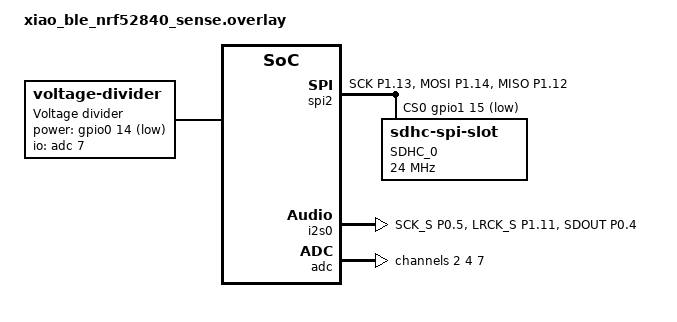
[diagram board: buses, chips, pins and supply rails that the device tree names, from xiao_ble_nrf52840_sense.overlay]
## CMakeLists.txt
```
#
# Copyright (c) 2021 Nordic Semiconductor
#
# SPDX-License-Identifier: LicenseRef-Nordic-5-Clause
#

cmake_minimum_required(VERSION 3.20.0)

find_package(Zephyr REQUIRED HINTS $ENV{ZEPHYR_BASE})
project(Toy)

include_directories(${CMAKE_CURRENT_LIST_DIR}/../common)

# NORDIC SDK APP START
target_sources(app PRIVATE src/main.c
                           src/nvs_modul.c
                           src/sd_modul.c
                           src/audio_modul.c
                           src/ble_modul.c
                           src/ei_imu_modul.c
                           src/game_modul.c
                           ../common/app_state.c
                           ../common/haptic_modul.c
                           ../common/bat_measures_modul.c
                           ../common/battery.c
                           ../common/pwm_effects.c
                           )
# NORDIC SDK APP END
```

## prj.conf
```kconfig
#
# Copyright (c) 2021 Nordic Semiconductor ASA
#
# SPDX-License-Identifier: LicenseRef-Nordic-5-Clause
#

# --- Serial comunication Configuration ---
CONFIG_USB_DEVICE_STACK=y
CONFIG_USB_CDC_ACM=y
CONFIG_SERIAL=y
CONFIG_UART_CONSOLE=y

# --- Error handling ---
CONFIG_REBOOT=y
CONFIG_RESET_ON_FATAL_ERROR=y
# --- Hardware Pheripherals Configuration ---
CONFIG_I2S=y
CONFIG_PWM=y
CONFIG_GPIO=y
# Enable accel sensor
CONFIG_SPI=y
CONFIG_SENSOR=y
CONFIG_LSM6DSL_TRIGGER_OWN_THREAD=y

#Analog reading for battery charging measurrements    
CONFIG_ADC=y
CONFIG_NRFX_SAADC=y

# --- Edge Impulse Configuration ---
#C++ dependencies
CONFIG_CPP=y
CONFIG_STD_CPP11=y
CONFIG_FP16=n

# Enable Edge Impulse
CONFIG_EDGE_IMPULSE=y
CONFIG_EDGE_IMPULSE_DOWNLOAD_ALWAYS=n
CONFIG_EDGE_IMPULSE_URI="xiaog5v46"
CONFIG_EI_WRAPPER=y
# --- Storage & Filesystem Configuration ---
#nvs storage
CONFIG_FLASH=y
CONFIG_NVS=y
CONFIG_REBOOT=n
CONFIG_MPU_ALLOW_FLASH_WRITE=y
#sdhc config
CONFIG_FILE_SYSTEM=y
CONFIG_FAT_FILESYSTEM_ELM=y
CONFIG_DISK_ACCESS=y
# Long File Names
CONFIG_FS_FATFS_LFN=y

# Max path lenght
CONFIG_FS_FATFS_MAX_LFN=255

# --- Bluetooth (BLE) Configuration ---
CONFIG_BT=y
CONFIG_BT_PERIPHERAL=y
CONFIG_BT_DEVICE_NAME="Toy_BLE"
CONFIG_BT_ZEPHYR_NUS=y
CONFIG_BT_MAX_CONN=2
CONFIG_BT_GATT_DYNAMIC_DB=y
CONFIG_BT_USER_PHY_UPDATE=y
CONFIG_BT_CTLR_TX_PWR_PLUS_8=y
CONFIG_BT_GATT_CLIENT=y

CONFIG_BT_LL_SOFTDEVICE=y

CONFIG_BT_BUF_EVT_RX_COUNT=30

CONFIG_BT_BUF_ACL_RX_COUNT=24

CONFIG_BT_BUF_ACL_TX_COUNT=24
CONFIG_BT_CONN_TX_MAX=24
CONFIG_BT_L2CAP_TX_BUF_COUNT=24

CONFIG_BT_MAX_CONN=2
# Data Length and MTU
CONFIG_BT_USER_DATA_LEN_UPDATE=y
CONFIG_BT_CTLR_DATA_LENGTH_MAX=251
CONFIG_BT_BUF_ACL_RX_SIZE=251
CONFIG_BT_BUF_ACL_TX_SIZE=251
CONFIG_BT_L2CAP_TX_MTU=247

CONFIG_BT_CTLR_SDC_MAX_CONN_EVENT_LEN_DEFAULT=4000

CONFIG_LOG=y
CONFIG_LOG_MODE_DEFERRED=y
CONFIG_LOG_MODE_IMMEDIATE=n
CONFIG_LOG_BUFFER_SIZE=10000
CONFIG_LOG_PROCESS_THREAD_STACK_SIZE=4048

CONFIG_ENTROPY_GENERATOR=y
CONFIG_DK_LIBRARY=y
```

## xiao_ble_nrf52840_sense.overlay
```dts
// To get started, press Ctrl+Space to bring up the completion menu and view the available nodes.

// You can also use the buttons in the sidebar to perform actions on nodes.
// Actions currently available include:

// * Enabling / disabling the node
// * Adding the bus to a bus
// * Removing the node
// * Connecting ADC channels

// For more help, browse the DeviceTree documentation at https://docs.zephyrproject.org/latest/guides/dts/index.html
// You can also visit the nRF DeviceTree extension documentation at https://docs.nordicsemi.com/bundle/nrf-connect-vscode/page/guides/ncs_configure_app.html#devicetree-support-in-the-extension
&pinctrl {
    custom_spi: custom_spi {
            group1 {
                    psels = <NRF_PSEL(SPIM_SCK, 1, 13)>,
                            <NRF_PSEL(SPIM_MOSI, 1, 14)>,
                            <NRF_PSEL(SPIM_MISO, 1, 12)>;
            };
    };
};

&spi2 {
    status = "okay";
    pinctrl-0 = <&custom_spi>;
    pinctrl-1 = <&custom_spi>;
    pinctrl-names = "default", "sleep";
    cs-gpios = <&gpio1 15 GPIO_ACTIVE_LOW>;

    sdhc0: sdhc@0 {
        compatible = "zephyr,sdhc-spi-slot";
        reg = <0>;
        status = "okay";
        label = "SDHC_0";
        mmc {
                compatible = "zephyr,sdmmc-disk";
                status = "okay";
                disk-name = "SD";
        };
        spi-max-frequency = <24000000>;
    };
};

/ {
    aliases {
        i2stx = &i2s0;
        adc0 = &adc;
    };

    vbatt {
    compatible = "voltage-divider";
    label = "Voltage divider";
    io-channels = <&adc 7>;
    output-ohms = <510000>;
    full-ohms =  <1510000>;
    power-gpios = <&gpio0 14 GPIO_ACTIVE_LOW>;
    };
};

&i2s0 {
    compatible = "nordic,nrf-i2s";
    #address-cells = <1>;
    #size-cells = <0>;
    reg = <0x40025000 0x1000>;

    pinctrl-0 = <&i2s0_default>;
    pinctrl-names = "default";

    status = "okay";
};

&pinctrl {
    i2s0_default: i2s0_default {
        group1 {
            psels = <NRF_PSEL(I2S_SCK_S, 0, 5)>,    /* D8 */
                    <NRF_PSEL(I2S_LRCK_S, 1, 11)>,   /* D9 */
                    <NRF_PSEL(I2S_SDOUT, 0, 4)>;    /* D7 */
        };
    };
};

&pwm0_default {
    group1 {
        psels = <NRF_PSEL(PWM_OUT0, 0, 29)>, <NRF_PSEL(PWM_OUT1, 0, 3)>;
        /delete-property/ nordic,invert;
    };
};

&adc {
   #address-cells = <1>;
   #size-cells = <0>;

  channel@2 {
    reg = <2>;
    zephyr,gain = "ADC_GAIN_1_3";
    zephyr,reference = "ADC_REF_INTERNAL";
    zephyr,acquisition-time = <ADC_ACQ_TIME(ADC_ACQ_TIME_MICROSECONDS, 40)>;
    zephyr,input-positive = <NRF_SAADC_AIN0>;
    zephyr,resolution = <12>;
    zephyr,oversampling = <8>;
   };

  channel@4 {
    reg = <4>;
    zephyr,gain = "ADC_GAIN_1_3";
    zephyr,reference = "ADC_REF_INTERNAL";
    zephyr,acquisition-time = <ADC_ACQ_TIME(ADC_ACQ_TIME_MICROSECONDS, 40)>;
    zephyr,input-positive = <NRF_SAADC_AIN4>;
    zephyr,resolution = <12>;
    zephyr,oversampling = <8>;
   };

  channel@7 {
    reg = <7>;
    zephyr,gain = "ADC_GAIN_1_3";
    zephyr,reference = "ADC_REF_INTERNAL";
    zephyr,acquisition-time = <ADC_ACQ_TIME(ADC_ACQ_TIME_MICROSECONDS, 40)>;
    zephyr,input-positive = <NRF_SAADC_AIN7>;
    zephyr,resolution = <12>;
    zephyr,oversampling = <8>;
   };
};

/delete-node/ &{/pin-controller/pwm0_sleep/group1/};
/delete-node/ &{/pin-controller/uart0_default/group1/};
/delete-node/ &{/pin-controller/uart0_default/group2/};
/delete-node/ &{/pin-controller/uart0_sleep/group1/};
/delete-node/ &{/pin-controller/i2c1_default/group1/};
/delete-node/ &{/pin-controller/i2c1_sleep/group1/};
&qspi_default {
    group1 {
        psels = <NRF_PSEL(QSPI_SCK, 0, 21)>,
                <NRF_PSEL(QSPI_IO0, 0, 20)>,
                <NRF_PSEL(QSPI_IO1, 0, 24)>,
                <NRF_PSEL(QSPI_IO2, 0, 22)>,
                <NRF_PSEL(QSPI_CSN, 0, 25)>,
                <NRF_PSEL(QSPI_IO3, 0, 23)>;
    };
};
```

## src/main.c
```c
/*
 * Copyright (c) 2021 Nordic Semiconductor ASA
 *
 * SPDX-License-Identifier: LicenseRef-Nordic-5-Clause
 */
#include <zephyr/kernel.h>
#include <zephyr/logging/log.h>
LOG_MODULE_REGISTER(Main, CONFIG_LOG_DEFAULT_LEVEL);

#include <zephyr/device.h>
#include <zephyr/drivers/sensor.h>
#include <stdio.h>
#include <zephyr/sys/util.h>
//#include <zephyr/sys/reboot.h>
#include <zephyr/devicetree.h>
#include <zephyr/drivers/gpio.h>
#include <zephyr/irq.h>
#include <nrf.h>
#include <zephyr/types.h>
#include <dk_buttons_and_leds.h>

#include <zephyr/bluetooth/bluetooth.h>
#include <zephyr/bluetooth/services/nus.h>

/*modules that uses Toy and Remote together*/
#include "toy_utils.h"
/*Modules for nvs*/
#include "nvs_modul.h"
/*Modules for global variables of app state*/
#include "app_state.h"
/*Modules for sd operations*/
#include "sd_modul.h"
/*Modules for imu and edge impulse wrapper*/
#include "ei_imu_modul.h"
/*Modules for audio response*/
#include "audio_modul.h"
/*Modules for haptic response*/
#include "haptic_modul.h"
/*Modules for battery and charging measurements*/
#include "bat_measures_modul.h"
/*Modules for BLE comunication*/
#include "ble_modul.h"
/*Modules for Game mods*/
#include "game_modul.h"

#define SYSSOUND_THREAD_PRIORITY 11
#define SYSSOUND_THREAD_STACK_SIZE 2048

K_THREAD_STACK_DEFINE(syssound_stack_area, SYSSOUND_THREAD_STACK_SIZE);
static struct k_thread syssound_thread_data;

static void system_feedback_thread(void *arg1, void *arg2, void *arg3);

int main(void)
{
	int err;
	/*nvs storage init*/
	err = nvs_init_datarec(&volume, &current_category, &device_running, &current_game);
	if (err) {
		LOG_ERR("NVS initialization failed, err %d", err);
	}
	/*end of nvs storage init*/

	err = dk_leds_init();
	if (err)
	{
		LOG_ERR("LEDs initialization failed, err %d", err);
		return 0;
	}

	err = sd_modul_init();
	if (err) {
		LOG_ERR("SD modul initialization failed, err %d", err);
		return err;
	}

	err = imu_ei_init();
	if (err) {
		LOG_ERR("Edge Impulse & IMU modul initialization failed, err %d", err);
		return err;
	}
	err = audio_modul_init();
	if (err) {
		LOG_ERR("Audio Haptic modul initialization failed, err %d", err);
		return err;
	}
	err = haptic_modul_init();
	if (err) {
		LOG_ERR("Audio Haptic modul initialization failed, err %d", err);
		return err;
	}
	err = bat_measure_modul_init();
	if (err) {
		LOG_ERR("Baterry measure modul initialization failed, err %d", err);
		return err;
	}

	k_thread_create(&syssound_thread_data, syssound_stack_area,
					K_THREAD_STACK_SIZEOF(syssound_stack_area),
					system_feedback_thread,
					NULL, NULL, NULL,
					SYSSOUND_THREAD_PRIORITY, 0, K_NO_WAIT);

	err = ble_modul_init();
	if (err) {
		LOG_ERR("BLE modul initialization failed, err %d", err);
		return err;
	}
	
	
	err = game_modul_init();
	if (err) {
		LOG_ERR("GAME modul initialization failed, err %d", err);
		return err;
	}

	return 0;
}

static void system_feedback_thread(void *arg1, void *arg2, void *arg3) {
	LOG_INF("System feedback thread started");
	struct toy_events rx_event;
	struct toy_events last_bat = {0};
	struct toy_events tx_audio = {0};
	struct toy_events tx_lra = {.type = MT_LRA, .len = sizeof(struct lra_ev)};

    while (true) {
        if(k_msgq_get(&sysfb_msgq, &rx_event, K_FOREVER) == 0) {
			bool send = false;
			bool sendaudio = false;
			bool sendlra = false;

			switch (rx_event.type) {
				case MT_REQUEST_SD_DATA:
					struct file_data data_req = {
						.file_msg_type = MT_REQUEST_SD_DATA
					};
					k_msgq_put(&aud_dataq, &data_req, K_NO_WAIT); // Pošlu do vlákna pro přenos souborů
					break;
				case MT_LSM6DSL_ON:
				case MT_LSM6DSL_OFF:
					sendaudio = true;
					if(!device_running){
						device_running = true;
						nvs_save_power_state(device_running);
						lsm6dsl_ei_wake();
						tx_audio.type = MT_LSM6DSL_ON;
						LOG_INF("Toy turned ON");
					} else {
						lsm6dsl_sleep();
						device_running = false;
						tx_audio.type = MT_LSM6DSL_OFF;
						LOG_INF("Toy turned OFF");
						nvs_save_power_state(device_running);
					}
					break;
				case MT_VOL_UP:
					if(volume <= MAX_VOLUME) {
						volume += VOLUME_STEP;
						nvs_save_volume(volume);
						LOG_INF("Volume has increased to %d", volume);
					} else {
						LOG_WRN("Volume is at maximum %d", volume);
					}
					break;
				case MT_VOL_DOWN:
					if(volume > MIN_VOLUME) {
						volume -= VOLUME_STEP;
						nvs_save_volume(volume);
						LOG_INF("Volume has decreased to %d", volume);
					} else {
						LOG_WRN("Volume is at minimum %d", volume);
					}
					break;
				case MT_GEST:
					if (current_game == GAME_MODE_SWAPPED && remote_conn != NULL) {
						char send_buffer[120];
						int len = sizeof(rx_event.payload);
						memcpy(&send_buffer[1], &rx_event.payload, len);
						bt_nus_send(remote_conn, (const uint8_t *)send_buffer, len + 1);
						break;
					}
					if (current_game == GAME_MODE_CHAINS) {
						k_msgq_put(&game_ev_msgq, &rx_event, K_NO_WAIT);
						break;
					}
					sendaudio = true;
					sendlra = true;
					sendlra = true;
					tx_lra.payload.lra.effect = rx_event.payload.gest.type;
					tx_audio.type = MT_GEST;
					tx_audio.payload.audio.id = rx_event.payload.gest.type;
					break;
				case MT_CHANGE_CATEGORY:
					if(current_game == GAME_MODE_CHAINS) {
						LOG_INF("current_game is CHAINS to change category change the game mode");
						break;
					}
					current_category= (current_category + 1) % actual_categories_count;
					nvs_save_categ(current_category);
					sendaudio = true;
					tx_audio.type = MT_CHANGE_CATEGORY;
					tx_audio.payload.audio.id = (uint8_t *)categories[current_category].categ_id;
					LOG_INF("Current category changed to %d", current_category);
					break;
				case MT_LOW_BATERY:
					sendaudio = true;
					tx_audio.type = MT_LOW_BATERY;
					break;
				case MT_REQ_LASTBAT:
					memcpy(&rx_event.payload.power, &last_bat.payload.power, sizeof(rx_event.payload.power));
					last_bat.payload.power.deviceOn = device_running;
                    send = true; 
                    break;
				case MT_CHARGING:
				case MT_CHARGED:
					sendlra = true;
					tx_lra.payload.lra.effect = CHARGING_EFFECT;
				case MT_BAT_INF:
					memcpy(&last_bat.payload.power, &rx_event.payload.power, sizeof(rx_event.payload.power));
					send = true;
					break;
				case MT_G_MODE_CHANGE:
					current_game= (current_game + 1) % GAME_MODE_CNT;
					nvs_save_gameM(current_game);
					LOG_INF("Current game mode changed to %d", current_game);
					sendaudio = true;
					tx_audio.type = MT_G_MODE_CHANGE;
					tx_audio.payload.gest.type = current_game;
					if(current_game == GAME_MODE_CHAINS) {
						current_category = ctg_piano_idx;
						nvs_save_categ(current_category);
					} 
					break;
				case MT_SWITCH_TOY:
					sendlra = true;
					tx_lra.payload.lra.effect = CONNECTED_EFFECT;
					break;
				case MT_BT_CONNECTED:
					sendaudio = true;
					tx_audio.type = MT_BT_CONNECTED;
					break;
				case MT_BT_DISCONNECT:
					sendaudio = true;
					tx_audio.type = MT_BT_DISCONNECT;
					break;
				default:
					LOG_WRN("Unknown system feedback message received: %d", rx_event.type);
					break;
			}
			if (sendlra) {
				k_msgq_put(&lra_msgq, &tx_lra, K_NO_WAIT);
			}
			
			if(sendaudio) {
				k_msgq_put(&aud_event_msgq, &tx_audio, K_NO_WAIT);
			}
			if(send && master_conn != NULL) {
                char send_buffer[128];
				int len = sizeof(rx_event.payload.power);
                send_buffer[0] = MT_RECV_POW_DATA;
                memcpy(&send_buffer[1], &rx_event.payload.power, len);

                bt_nus_send(master_conn, (const uint8_t *)send_buffer, len + 1);
                
                LOG_INF("BT Send -> V_bat: %d, Charging: %d, Charged: %d, DeviceON: %d",
                        rx_event.payload.power.V_bat,
                        rx_event.payload.power.charging,
						rx_event.payload.power.charged,
                        rx_event.payload.power.deviceOn);
            }
		}
    }
}
```

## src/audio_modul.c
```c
#include "audio_modul.h"
#include "toy_utils.h"
#include "app_state.h"
#include "haptic_modul.h"

#ifdef CONFIG_DISK_ACCESS
	#include "sd_modul.h"
	/*moduls for SD card support*/
	#include <zephyr/storage/disk_access.h>
	#include <zephyr/fs/fs.h>
	#include <ff.h>
#endif

#include <zephyr/logging/log.h>

LOG_MODULE_REGISTER(audio_modul, CONFIG_LOG_DEFAULT_LEVEL);

#include <zephyr/drivers/i2s.h>

#include <zephyr/sys/iterable_sections.h>
#include <zephyr/kernel.h>

#define AUD_EVENT_MSGQ_LENGTH 16

K_MSGQ_DEFINE(aud_event_msgq, sizeof(struct toy_events), AUD_EVENT_MSGQ_LENGTH, 4);

#define AUDIO_CHUNK_SIZE 1024
#define AUDIO_SD_CHUNK AUDIO_CHUNK_SIZE

#ifdef CONFIG_NOCACHE_MEMORY
#define MEM_SLAB_CACHE_ATTR __nocache
#else
#define MEM_SLAB_CACHE_ATTR
#endif /* CONFIG_NOCACHE_MEMORY */

#define BLOCK_SIZE AUDIO_CHUNK_SIZE
#define SLAB_COUNT 4

static char MEM_SLAB_CACHE_ATTR __aligned(WB_UP(32))
	_k_mem_slab_buf_tx_0_mem_slab[(SLAB_COUNT)*WB_UP(BLOCK_SIZE)];

static STRUCT_SECTION_ITERABLE(k_mem_slab, tx_0_mem_slab) =
	Z_MEM_SLAB_INITIALIZER(tx_0_mem_slab, _k_mem_slab_buf_tx_0_mem_slab,
						   WB_UP(BLOCK_SIZE), SLAB_COUNT);

#ifdef CONFIG_I2S
#define AUDIO_THREAD_STACK_SIZE 2048
#define AUDIO_THREAD_PRIORITY 3
K_THREAD_STACK_DEFINE(audio_haptic_stack_area, AUDIO_THREAD_STACK_SIZE);
static struct k_thread audio_haptic_thread_data;

typedef enum {
    SYS_SOUND_LOW_BATTERY,
    SYS_SOUND_BT_CONNECTED,
    SYS_SOUND_BT_DISCONNECTED,
    SYS_SOUND_MODE_DEFAULT,
    SYS_SOUND_MODE_CHAINS,
    SYS_SOUND_ZAPNUTO,
    SYS_SOUND_VYPNUTO,
	SYS_SOUND_MODE_MIRROR,
	SYS_SOUND_MODE_SWAPPED,
	SYS_SOUND_CATEG_CHANGED,

	SYS_SOUND_COUNT
} sys_sound_t;

static const char *const sys_sound_paths[] = {
    [SYS_SOUND_LOW_BATTERY]    = "SD:/system/lowB.wav",
    [SYS_SOUND_BT_CONNECTED]   = "SD:/system/btOn.wav",
    [SYS_SOUND_BT_DISCONNECTED]= "SD:/system/btOff.wav",
    [SYS_SOUND_MODE_DEFAULT]     = "SD:/system/Bezny.wav",
    [SYS_SOUND_MODE_CHAINS]  = "SD:/system/Retezovy.wav",
	[SYS_SOUND_MODE_MIRROR]	   = "SD:/system/Zrcadlovy.wav",
	[SYS_SOUND_MODE_SWAPPED]   = "SD:/system/Obraceny.wav",
	[SYS_SOUND_VYPNUTO]        = "SD:/system/Vypnout.wav",
	[SYS_SOUND_ZAPNUTO]		   = "SD:/system/Zapnout.wav",
	[SYS_SOUND_CATEG_CHANGED]  = "SD:/system/ctg_chng/"
};

void audio_feedback_thread(void *arg1, void *arg2, void *arg3);
#endif

int audio_modul_init() {

	#ifdef CONFIG_I2S
    k_thread_create(&audio_haptic_thread_data, audio_haptic_stack_area,
                K_THREAD_STACK_SIZEOF(audio_haptic_stack_area),
                audio_feedback_thread,
                NULL, NULL, NULL,
                AUDIO_THREAD_PRIORITY, 0, K_NO_WAIT);
	#endif
    return 0;
}

#ifdef CONFIG_I2S
int find_piano();

int playaudio(const struct device *dev_i2s, const char **paths, uint8_t files_num);

int i2s_initialize(const struct device *dev_i2s); // init of i2s for playing gest

int i2s_initialize(const struct device *dev_i2s){

	int ret;

	struct i2s_config i2s_cfg;

	if (!device_is_ready(dev_i2s)) {
		LOG_ERR("I2S device not ready\n");
		ret = -ENODEV;
		return ret;
	} else {
		LOG_INF("I2S device is ready\n");
	}

	i2s_cfg.word_size = 16U;
	i2s_cfg.channels = 1U;
	i2s_cfg.format = I2S_FMT_DATA_FORMAT_I2S;
	i2s_cfg.frame_clk_freq = 44100;
	i2s_cfg.block_size = BLOCK_SIZE;
	i2s_cfg.timeout = 3000;
	i2s_cfg.options = I2S_OPT_FRAME_CLK_MASTER | I2S_OPT_BIT_CLK_MASTER;
	i2s_cfg.mem_slab = &tx_0_mem_slab;

	ret = i2s_configure(dev_i2s, I2S_DIR_TX, &i2s_cfg);

	if (ret < 0) {
		LOG_ERR("Failed to configure I2S stream");
		return ret;
	}

	return 0;
}

void audio_feedback_thread(void *arg1, void *arg2, void *arg3) {
	int ret;
	struct toy_events rx_ah;
	LOG_INF("Audio/haptic thread starting...");

	const struct device *dev_i2s = DEVICE_DT_GET(DT_ALIAS(i2stx));

	ret = i2s_initialize(dev_i2s);
	if (ret) {
		LOG_ERR("Init failed");
	} else {
		LOG_INF("Initilize of i2s was succesful");
	}

	while (true) {
		if (k_msgq_get(&aud_event_msgq, &rx_ah, K_FOREVER) == 0) {
			char temp_path[MAX_PATH];
			char temp_path2[MAX_PATH];
			char temp_path3[MAX_PATH];
			const char *paths[CHAIN_TRESHOLD] = {NULL, NULL, NULL};
			int num_to_play = 1;

			const char *result_path = NULL;
			LOG_INF("Recieved packet type 0x%2x gest type %d", rx_ah.type, rx_ah.payload.gest.type);
			switch (rx_ah.type) {
				case MT_GEST:
					result_path = draw_audio_path(rx_ah.payload.gest.type, 255);
					if ( result_path != NULL) {
						strncpy(temp_path, result_path, MAX_PATH - 1);
					}
					paths[0] = temp_path;
					break;
				case MT_CHAIN:
					LOG_INF("Recieved chain event");
					/*
					num_to_play = 3;
					if (ctg_piano_idx != -1) {
						LOG_INF("Piano found at category index: %d", ctg_piano_idx);
					} else {
						LOG_WRN("Piano directory (P_...) not found on SD card!");
						break;
					}
					
					for (size_t i = 0; i < CHAIN_TRESHOLD; i++) {
						result_path = draw_audio_path(rx_ah.payload.audio.chain[i], ctg_piano_idx);
						if ( result_path != NULL && i == 0) {
							strncpy(temp_path, result_path, MAX_PATH - 1);
							paths[0] = temp_path;
						}
						if ( result_path != NULL && i == 1) {
							strncpy(temp_path2, result_path, MAX_PATH - 1);
							paths[1] = temp_path2;
						}
						if ( result_path != NULL && i == 2) {
							strncpy(temp_path3, result_path, MAX_PATH - 1);
							paths[2] = temp_path3;
						}
					}
					*/

					result_path = permute_and_find(rx_ah.payload.audio.chain);
					if ( result_path != NULL) {
						strncpy(temp_path, result_path, MAX_PATH - 1);
					}
					paths[0] = temp_path;
					break;
				case MT_LOW_BATERY:
					paths[0] = sys_sound_paths[SYS_SOUND_LOW_BATTERY];
					break;
				case MT_BT_CONNECTED:
					paths[0] = sys_sound_paths[SYS_SOUND_BT_CONNECTED];
					break;
				case MT_BT_DISCONNECT:
					paths[0] = sys_sound_paths[SYS_SOUND_BT_DISCONNECTED];
					break;
				case MT_LSM6DSL_OFF:
					paths[0] = sys_sound_paths[SYS_SOUND_VYPNUTO];
					break;
				case MT_LSM6DSL_ON:
					paths[0] = sys_sound_paths[SYS_SOUND_ZAPNUTO];
					break;
				case MT_G_MODE_CHANGE:
					switch (rx_ah.payload.gest.type) {
						case GAME_MODE_DEFAULT:
							paths[0] = sys_sound_paths[SYS_SOUND_MODE_DEFAULT];
							break;
						case GAME_MODE_CHAINS:
							paths[0] = sys_sound_paths[SYS_SOUND_MODE_CHAINS];
							break;
						case GAME_MODE_MIRROR:
							paths[0] = sys_sound_paths[SYS_SOUND_MODE_MIRROR];
							break;
						case GAME_MODE_SWAPPED:
							paths[0] = sys_sound_paths[SYS_SOUND_MODE_SWAPPED];
							break;
						default:
							LOG_INF("Unknown gamemode in gest haptic thread: 0x%2x", rx_ah.type);
							break;
					}
					break;
				case MT_CHANGE_CATEGORY:
						sprintf(temp_path, "%s%c.wav",sys_sound_paths[SYS_SOUND_CATEG_CHANGED], rx_ah.payload.gest.type);
						LOG_INF("Categ change sys path is %s",temp_path);
						paths[0] = temp_path;
					break;
				default:
					LOG_INF("Unknown comand in gest haptic thread: %d", rx_ah.type);
					break;
			}
			if(paths[0][0] != '\0') {
				playaudio(dev_i2s, paths, num_to_play);
			}else{
				LOG_INF("Someting went wrong while looking for path skipping gest paly");
			}
		}
	}
}
#endif

#if defined(CONFIG_I2S) && defined(CONFIG_FILE_SYSTEM)
int playaudio(const struct device *dev_i2s, const char **paths, uint8_t files_num) {
	k_sem_take(&sd_data_sem, K_FOREVER);
	audioPlaying = true;
	void *audio_block;
	int ret = 0;

	static uint8_t audio_buf[CHAIN_TRESHOLD][AUDIO_SD_CHUNK];

	UINT bytes_read[CHAIN_TRESHOLD];
	FRESULT fr;

	FIL wav[CHAIN_TRESHOLD];

	for (size_t i = 0; i < files_num; i++) {
		if (f_open(&wav[i], paths[i], FA_READ)) {
			LOG_ERR("open %s failed (%d)", paths[i], fr);
			ret = -EIO;
			goto cleanup;
		} else {
		LOG_INF("Playing from path: %s and skipping header",paths[i]);
		f_lseek(&wav[i], 44); // skip WAV header
		}
	}
	// i2s warm up
	for (int j = 0; j < 3; j++) {
		ret = k_mem_slab_alloc(&tx_0_mem_slab, &audio_block, K_FOREVER);
		if (ret != 0)
		{
			LOG_ERR("Failed to alloc mem_slab block");
			continue;
		}

		memset(audio_block, 0, BLOCK_SIZE);

		ret = i2s_write(dev_i2s, audio_block, BLOCK_SIZE);
		if (ret != 0) {
			LOG_ERR("Could not write TX buffer: %d", ret);
			k_mem_slab_free(&tx_0_mem_slab, &audio_block);
		}
	}

	ret = i2s_trigger(dev_i2s, I2S_DIR_TX, I2S_TRIGGER_START);
	if (ret < 0) {
		LOG_ERR("Could not start I2S TX error: %d", ret);
		return ret;
	}
	while (true) {
		bool any_data = false;
		
		for (size_t i = 0; i < files_num; i++) {
			if ((fr = f_read(&wav[i], audio_buf[i], AUDIO_SD_CHUNK, &bytes_read[i])) == FR_OK) {
				if(bytes_read[i] > 0) {
					any_data = true;
					//LOG_INF("FILE %d and bytes read is %d", i, bytes_read[i]);
				}
			}
		}

		if (!any_data) break;

		// I2S block allocation
		ret = k_mem_slab_alloc(&tx_0_mem_slab, &audio_block, K_FOREVER);
		if (ret != 0) {
			LOG_ERR("TX block allocation failed %d", ret);
			continue;
		}
		
		int16_t *out_samples = (int16_t *)audio_block;
		size_t sample_count = AUDIO_SD_CHUNK / 2;

		for (size_t i = 0; i < sample_count; i++) {

			int32_t mixed_32 = 0;

			for (size_t s = 0; s < files_num; s++) {
				if (bytes_read[s] >= (i + 1) * 2) {
					int16_t *sample_ptr = (int16_t *)&audio_buf[s][i * 2];
					mixed_32 += *sample_ptr;
				}
			}
			float scaled = (mixed_32 * (int32_t)volume) / 10 * files_num;

			// in case of overflow – clamp
			if (scaled > 32767) scaled = 32767;
			if (scaled < -32768) scaled = -32768;

			out_samples[i] = (int16_t)scaled;
		}
		
		// Send block to driver
		ret = i2s_write(dev_i2s, (uint8_t *)audio_block, BLOCK_SIZE);
		if (ret != 0) {
			LOG_ERR("I2S write error: %d", ret);
			k_mem_slab_free(&tx_0_mem_slab, &audio_block);
		}
	}

	i2s_trigger(dev_i2s, I2S_DIR_TX, I2S_TRIGGER_DRAIN);
	i2s_trigger(dev_i2s, I2S_DIR_TX, I2S_TRIGGER_STOP);
	i2s_trigger(dev_i2s, I2S_DIR_TX, I2S_TRIGGER_DROP);

	cleanup:
		for (int i = 0; i < files_num; i++) {
			fr = f_close(&wav[i]);
			if (fr != FR_OK) {
				LOG_ERR("f_close failed: %d", fr);
				ret = -EIO;
			}
		}

		audioPlaying = false;
		k_sem_give(&sd_data_sem);
		return ret;
}
#endif
```

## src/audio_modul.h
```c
#ifndef AUDIO_MODUL_H_
#define AUDIO_MODUL_H_

extern struct k_msgq aud_event_msgq;

int audio_modul_init();

#endif
```

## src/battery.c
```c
/*
 * Copyright (c) 2018-2019 Peter Bigot Consulting, LLC
 * Copyright (c) 2019-2020 Nordic Semiconductor ASA
 *
 * SPDX-License-Identifier: Apache-2.0
 */

#include <math.h>
#include <stdio.h>
#include <stdlib.h>

#include <zephyr/kernel.h>
#include <zephyr/init.h>
#include <zephyr/drivers/gpio.h>
#include <zephyr/drivers/adc.h>
#include <zephyr/drivers/sensor.h>
#include <zephyr/logging/log.h>

#include "battery.h"

LOG_MODULE_REGISTER(BATTERY, CONFIG_ADC_LOG_LEVEL);

#define VBATT DT_PATH(vbatt)
#define ZEPHYR_USER DT_PATH(zephyr_user)

#ifdef CONFIG_BOARD_THINGY52_NRF52832
/* This board uses a divider that reduces max voltage to
 * reference voltage (600 mV).
 */
#define BATTERY_ADC_GAIN ADC_GAIN_1
#else
/* Other boards may use dividers that only reduce battery voltage to
 * the maximum supported by the hardware (3.6 V)
 */
#define BATTERY_ADC_GAIN ADC_GAIN_1_6
#endif

struct io_channel_config {
	uint8_t channel;
};

struct divider_config {
	struct io_channel_config io_channel;
	struct gpio_dt_spec power_gpios;
	/* output_ohm is used as a flag value: if it is nonzero then
	 * the battery is measured through a voltage divider;
	 * otherwise it is assumed to be directly connected to Vdd.
	 */
	uint32_t output_ohm;
	uint32_t full_ohm;
};

static const struct divider_config divider_config = {
#if DT_NODE_HAS_STATUS_OKAY(VBATT)
	.io_channel = {
		DT_IO_CHANNELS_INPUT(VBATT),
	},
	.power_gpios = GPIO_DT_SPEC_GET_OR(VBATT, power_gpios, {}),
	.output_ohm = DT_PROP(VBATT, output_ohms),
	.full_ohm = DT_PROP(VBATT, full_ohms),
#else /* /vbatt exists */
	.io_channel = {
		DT_IO_CHANNELS_INPUT(ZEPHYR_USER),
	},
#endif /* /vbatt exists */
};

struct divider_data {
	const struct device *adc;
	struct adc_channel_cfg adc_cfg;
	struct adc_sequence adc_seq;
	int16_t raw;
};
static struct divider_data divider_data = {
#if DT_NODE_HAS_STATUS_OKAY(VBATT)
	.adc = DEVICE_DT_GET(DT_IO_CHANNELS_CTLR(VBATT)),
#else
	.adc = DEVICE_DT_GET(DT_IO_CHANNELS_CTLR(ZEPHYR_USER)),
#endif
};

static int divider_setup(void)
{
	const struct divider_config *cfg = &divider_config;
	const struct io_channel_config *iocp = &cfg->io_channel;
	const struct gpio_dt_spec *gcp = &cfg->power_gpios;
	struct divider_data *ddp = &divider_data;
	struct adc_sequence *asp = &ddp->adc_seq;
	struct adc_channel_cfg *accp = &ddp->adc_cfg;
	int rc;

	if (!device_is_ready(ddp->adc)) {
		LOG_ERR("ADC device is not ready %s", ddp->adc->name);
		return -ENOENT;
	}

	if (gcp->port) {
		if (!device_is_ready(gcp->port)) {
			LOG_ERR("%s: device not ready", gcp->port->name);
			return -ENOENT;
		}
		rc = gpio_pin_configure_dt(gcp, GPIO_OUTPUT_INACTIVE);
		if (rc != 0) {
			LOG_ERR("Failed to control feed %s.%u: %d",
				gcp->port->name, gcp->pin, rc);
			return rc;
		}
	}

	*asp = (struct adc_sequence){
		.channels = BIT(0),
		.buffer = &ddp->raw,
		.buffer_size = sizeof(ddp->raw),
		.oversampling = 4,
		.calibrate = true,
	};

#ifdef CONFIG_ADC_NRFX_SAADC
	*accp = (struct adc_channel_cfg){
		.gain = BATTERY_ADC_GAIN,
		.reference = ADC_REF_INTERNAL,
		.acquisition_time = ADC_ACQ_TIME(ADC_ACQ_TIME_MICROSECONDS, 40),
	};

	if (cfg->output_ohm != 0) {
		accp->input_positive = 
		SAADC_CH_PSELP_PSELP_AnalogInput0 + iocp->channel;
	} else {
		accp->input_positive = SAADC_CH_PSELP_PSELP_VDD;
	}

	asp->resolution = 14;
#else /* CONFIG_ADC_var */
#error Unsupported ADC
#endif /* CONFIG_ADC_var */

	rc = adc_channel_setup(ddp->adc, accp);

	LOG_INF("Setup AIN%u got %d", iocp->channel, rc);
	/* debug: vytisknout nastavení před setupem */


	return rc;
}

static bool battery_ok;

static int battery_setup(void)
{
	int rc = divider_setup();

	battery_ok = (rc == 0);
	LOG_INF("Battery setup: %d %d", rc, battery_ok);
	return rc;
}

SYS_INIT(battery_setup, APPLICATION, CONFIG_APPLICATION_INIT_PRIORITY);

int battery_measure_enable(bool enable)
{
	int rc = -ENOENT;

	if (battery_ok) {
		const struct gpio_dt_spec *gcp = &divider_config.power_gpios;

		rc = 0;
		if (gcp->port) {
			rc = gpio_pin_set_dt(gcp, enable);
		}
	}
	return rc;
}

int battery_sample(void)
{
	int rc = -ENOENT;

	if (battery_ok) {
		struct divider_data *ddp = &divider_data;
		const struct divider_config *dcp = &divider_config;
		struct adc_sequence *sp = &ddp->adc_seq;

		rc = adc_read(ddp->adc, sp);
		sp->calibrate = false;
		if (rc == 0) {
			int32_t val = ddp->raw;

			adc_raw_to_millivolts(adc_ref_internal(ddp->adc),
					      ddp->adc_cfg.gain,
					      sp->resolution,
					      &val);
						  
			/* vypiš kanál */

			if (dcp->output_ohm != 0) {
				rc = val * (uint64_t)dcp->full_ohm
					/ dcp->output_ohm;
				//LOG_INF("raw %u ~ %u mV => %d mV\n",ddp->raw, val, rc);
			} else {
				rc = val;
				//LOG_INF("raw %u ~ %u mV\n", ddp->raw, val);
			}
		}
	}

	return rc;
}

unsigned int battery_level_pptt(unsigned int batt_mV,
				const struct battery_level_point *curve)
{
	const struct battery_level_point *pb = curve;

	if (batt_mV >= pb->lvl_mV) {
		/* Measured voltage above highest point, cap at maximum. */
		return pb->lvl_pptt;
	}
	/* Go down to the last point at or below the measured voltage. */
	while ((pb->lvl_pptt > 0)
	       && (batt_mV < pb->lvl_mV)) {
		++pb;
	}
	if (batt_mV < pb->lvl_mV) {
		/* Below lowest point, cap at minimum */
		return pb->lvl_pptt;
	}

	/* Linear interpolation between below and above points. */
	const struct battery_level_point *pa = pb - 1;

	return pb->lvl_pptt
	       + ((pa->lvl_pptt - pb->lvl_pptt)
		  * (batt_mV - pb->lvl_mV)
		  / (pa->lvl_mV - pb->lvl_mV));
}
```

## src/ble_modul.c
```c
#include "ble_modul.h"
#include "app_state.h"
#include "toy_utils.h"
#include "sd_modul.h"

#include "audio_modul.h"
#include <zephyr/logging/log.h>
LOG_MODULE_REGISTER(BLE_modul, CONFIG_LOG_DEFAULT_LEVEL);

#include <zephyr/bluetooth/bluetooth.h>
#include <zephyr/bluetooth/hci.h>
#include <zephyr/bluetooth/conn.h>
#include <zephyr/bluetooth/uuid.h>
#include <zephyr/bluetooth/gatt.h>
#include <zephyr/bluetooth/services/nus.h>
#include <zephyr/bluetooth/services/nus/inst.h>
#define DEVICE_NAME		CONFIG_BT_DEVICE_NAME
#define DEVICE_NAME_LEN		(sizeof(CONFIG_BT_DEVICE_NAME) - 1)

static const struct bt_data ad[] = {
	BT_DATA_BYTES(BT_DATA_FLAGS, (BT_LE_AD_GENERAL | BT_LE_AD_NO_BREDR)),
	BT_DATA(BT_DATA_NAME_COMPLETE, DEVICE_NAME, DEVICE_NAME_LEN),
};

static const struct bt_data sd[] = {
	BT_DATA_BYTES(BT_DATA_UUID128_ALL, BT_UUID_NUS_SRV_VAL),
};

void connected(struct bt_conn *conn, uint8_t err);

void disconnected(struct bt_conn *conn, uint8_t reason);

void con_discon_form_adress(struct bt_conn *conn, bool connect);

static void bt_receive_cb(struct bt_conn *conn, const void *data, uint16_t len, void *ctx);

static void le_data_len_updated(struct bt_conn *conn, struct bt_conn_le_data_len_info *info)
{
    LOG_INF("DLE REALITA: TX_len: %u, RX_len: %u", info->tx_max_len, info->rx_max_len);
}

static void le_param_updated(struct bt_conn *conn, uint16_t interval, uint16_t latency, uint16_t timeout)
{
    LOG_INF("TIMING REALITA: Interval %.2f ms", interval * 1.25);
}

static void le_phy_updated(struct bt_conn *conn, struct bt_conn_le_phy_info *param)
{
    LOG_INF("--- PHY UPDATE POTVRZEN ---");
    LOG_INF("Aktuální TX PHY: %s", (param->tx_phy == BT_GAP_LE_PHY_2M) ? "2 Mbps" : "1 Mbps");
    LOG_INF("Aktuální RX PHY: %s", (param->rx_phy == BT_GAP_LE_PHY_2M) ? "2 Mbps" : "1 Mbps");
}

BT_CONN_CB_DEFINE(conn_callbacks) = {
    .connected = connected,
    .disconnected = disconnected,
	.le_data_len_updated = le_data_len_updated,
	.le_param_updated = le_param_updated,
	.le_phy_updated =le_phy_updated
};

static struct bt_nus_cb nus_callbacks = {
    .received = bt_receive_cb,
};

static struct bt_gatt_exchange_params exchange_params;
static void update_data_len_mtu(struct bt_conn *conn);
static void update_timing_phy(struct bt_conn *conn, uint8_t cmd);
static void exchange_func(struct bt_conn *conn, uint8_t err,
                          struct bt_gatt_exchange_params *params);

#define BT_THREAD_PRIORITY 8
#define BT_THREAD_STACK_SIZE 4096

K_THREAD_STACK_DEFINE(BT_stack_area, BT_THREAD_STACK_SIZE);
static struct k_thread BT_thread_data;

static void BT_thread(void *arg1, void *arg2, void *arg3);

int ble_modul_init(void){
    k_thread_create(&BT_thread_data, BT_stack_area,
                        K_THREAD_STACK_SIZEOF(BT_stack_area),
                        BT_thread,
                        NULL, NULL, NULL,
                        BT_THREAD_PRIORITY, 0, K_NO_WAIT);
    return 0;
}

static void BT_thread(void *arg1, void *arg2, void *arg3) {
    bt_enable(NULL);

    int err = bt_nus_cb_register(&nus_callbacks, NULL);
	if (err) {
		printk("Failed to register CONN callback: %d\n", err);
		return;
	}
    bt_le_adv_start(BT_LE_ADV_CONN_FAST_1, ad, ARRAY_SIZE(ad), sd, ARRAY_SIZE(sd));
    while (1) {
		k_sleep(K_SECONDS(1));
	}
}

void connected(struct bt_conn *conn, uint8_t err) {
    if (err) {
        LOG_ERR("Connection failed (err %u)", err);
        return;
    }
    con_discon_form_adress(conn, true);

    //master_conn = bt_conn_ref(conn); // Save the connection
    LOG_INF("Device Connected!");
	
	k_sleep(K_MSEC(1));
    struct toy_events tx_conn_e = {.type = MT_BT_CONNECTED};
	k_msgq_put(&sysfb_msgq, &tx_conn_e, K_NO_WAIT);

    update_data_len_mtu(conn);
    update_timing_phy(conn, MT_DEC_SPEED);
    
    if ((master_conn == NULL) || (remote_conn == NULL)) {
        int adv_err = bt_le_adv_start(BT_LE_ADV_CONN_FAST_1, ad, ARRAY_SIZE(ad), sd, ARRAY_SIZE(sd));
        if (adv_err) {
            LOG_ERR("Unable to reset advertising (err %d)", adv_err);
        } else {
            LOG_INF("Advertising reset...");
        }
    }
}

void disconnected(struct bt_conn *conn, uint8_t reason) {
    LOG_INF("Disconnected (reason %u)", reason);
    
    struct toy_events tx_conn_e = {.type = MT_BT_DISCONNECT};
    k_msgq_put(&sysfb_msgq, &tx_conn_e, K_NO_WAIT);

    con_discon_form_adress(conn, false);

	bt_le_adv_stop();

	int err = bt_le_adv_start(BT_LE_ADV_CONN_FAST_1 , ad, ARRAY_SIZE(ad), sd, ARRAY_SIZE(sd));
    if (err) {
        printk("Could not start advertising (err %d)\n", err);
    } else {
        printk("Advertising started.\n");
    }
}

static void bt_receive_cb(struct bt_conn *conn, const void *data, uint16_t len, void *ctx) {
	const uint8_t *data8 = (const uint8_t *)data;
    uint8_t cmd = data8[0];
	switch (cmd) {
            case MT_GEST:
            	if (device_running) {
                    k_msgq_put(&aud_event_msgq, data, K_NO_WAIT);
                }
                break;
            case MT_G_MODE_CHANGE:
            case MT_CHANGE_CATEGORY:
            case MSG_TYPE_TURNOFF:
            case MT_LSM6DSL_OFF:
            case MT_LSM6DSL_ON:
            case MT_VOL_UP:
            case MT_VOL_DOWN:
            case MT_REQUEST_SD_DATA:
            case MT_SWITCH_TOY:
            case MT_REQ_LASTBAT:
                LOG_INF("Recieved comand form remote : 0x%2x",cmd);
                k_msgq_put(&sysfb_msgq, &cmd, K_NO_WAIT);
                break;
            case MT_FILE:
            case MT_FILE_TRANSFER:
            case MT_DELETE_SD_FILE:
            case MT_DELETE_SD_CATEGORY:
            case MT_RENAME_SD_FILE:
            case MT_RENAME_SD_FOLDER:
            case MT_RENAME_SD_CATEGORY:
            case MT_ADD_SD_DIR:
                {
                    struct file_data fd;
                    fd.file_msg_type = cmd;
                    fd.data_len = len - 1;

                    if (fd.data_len > sizeof(fd.data)) {
                        fd.data_len = sizeof(fd.data);
                    }

                    memcpy(fd.data, &data8[1], fd.data_len);

                    if (fd.data_len < sizeof(fd.data)) {
                        fd.data[fd.data_len] = '\0';
                    }
                    k_msgq_put(&aud_dataq, &fd, K_NO_WAIT);
                }
                break;
            case MT_INC_SPEED:
                LOG_INF("Recieved msg to increase BLE speed");
                update_timing_phy(conn, cmd);
                break;
            case MT_DEC_SPEED:
                LOG_INF("Recieved msg to decrease BLE speed");
                update_timing_phy(conn, cmd);
                break;
			default:
                LOG_WRN("Unknown comand throwing away 0x%2x.\n", data8[0]);
                break;
        }
}

static void exchange_func(struct bt_conn *conn, uint8_t err,
                          struct bt_gatt_exchange_params *params)
{
    if (err) {
        printk("MTU exchange failed (err %u)\n", err);
    } else {
        printk("MTU updated: %u\n", bt_gatt_get_mtu(conn));
    }
}
static void update_data_len_mtu(struct bt_conn *conn) {
    int err;

    struct bt_conn_le_data_len_param my_data_len = {
        .tx_max_len = BT_GAP_DATA_LEN_MAX,
        .tx_max_time = BT_GAP_DATA_TIME_MAX,
    };
    err = bt_conn_le_data_len_update(conn, &my_data_len);
    if (err) {
        printk("data_len_update failed (err %d)", err);
    }

    exchange_params.func = exchange_func;

	err = bt_gatt_exchange_mtu(conn, &exchange_params);
    if (err) {
        printk("bt_gatt_exchange_mtu failed (err %d)", err);
    }
}

static void update_timing_phy(struct bt_conn *conn, uint8_t cmd) {
    int err;
    
    if (cmd == MT_INC_SPEED) {
        LOG_INF("Setting BLE to FAST mode");

        const struct bt_conn_le_phy_param phy_param_fast = {
            .pref_tx_phy = BT_GAP_LE_PHY_2M,
            .pref_rx_phy = BT_GAP_LE_PHY_2M,
        };
        bt_conn_le_phy_update(conn, &phy_param_fast);

        k_sleep(K_MSEC(50));

        struct bt_le_conn_param *fast_params = BT_LE_CONN_PARAM(12, 12, 5, 400); 
        err = bt_conn_le_param_update(conn, fast_params);
        
    } else {
        LOG_INF("Setting BLE to SLOW mode");

        const struct bt_conn_le_phy_param phy_param_slow = {
            .pref_tx_phy = BT_GAP_LE_PHY_1M,
            .pref_rx_phy = BT_GAP_LE_PHY_1M,
        };
        bt_conn_le_phy_update(conn, &phy_param_slow);

        k_sleep(K_MSEC(50));

        // Interval 45-60ms - šetří baterii, stačí pro povely z ovladače
        struct bt_le_conn_param *slow_params = BT_LE_CONN_PARAM(36, 40, 5, 400); 
        err = bt_conn_le_param_update(conn, slow_params);
    }

    if (!err) {
        LOG_INF("Link parameters update initiated");
    } else {
        LOG_ERR("Link parameters update failed (err %d)", err);
    }
}

void con_discon_form_adress(struct bt_conn *conn, bool connect) {
    const bt_addr_le_t *addr = bt_conn_get_dst(conn);
    if (connect){
        if ((addr->a.val[5] & 0xc0) == 0x40) {
            if (!master_conn) {
                master_conn = bt_conn_ref(conn);
                LOG_INF("Conected to App (based on adress type))");
            }
        } else {
            if (!remote_conn) {
                remote_conn = bt_conn_ref(conn);
                LOG_INF("Conected to Remote (based on adress type))");
            }
        }
    } else {
        if ((addr->a.val[5] & 0xc0) == 0x40) {
            if (master_conn) {
                bt_conn_unref(master_conn);
                master_conn = NULL;
                LOG_INF("Disconected form App (based on adress type))");
            }
        } else {
            if (remote_conn) {
                bt_conn_unref(remote_conn);
                remote_conn = NULL;
                LOG_INF("Disconected from Remote (based on adress type))");
            }
        }
    }
}
```

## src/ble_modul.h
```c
#ifndef BLE_MODULE_H_
#define BLE_MODULE_H_

int ble_modul_init(void);

#endif
```

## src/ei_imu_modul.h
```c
#ifndef EI_IMU_MODUL_H_
#define EI_IMU_MODUL_H_

int imu_ei_init();

void lsm6dsl_sleep();

void lsm6dsl_ei_wake();

#endif
```

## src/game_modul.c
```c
#include "game_modul.h"
#include "app_state.h"
#include "toy_utils.h"
#include <zephyr/kernel.h>

#include "audio_modul.h"
#include <zephyr/logging/log.h>
LOG_MODULE_REGISTER(game_modul, CONFIG_LOG_DEFAULT_LEVEL);

#define GAME_EVENT_MSGQ_LENGTH 16
#define GEST_COUNT 7 

K_MSGQ_DEFINE(game_ev_msgq, sizeof(struct toy_events), GAME_EVENT_MSGQ_LENGTH, 4);

#define GAME_THREAD_PRIORITY 13
#define GAME_THREAD_STACK_SIZE 1024

K_THREAD_STACK_DEFINE(game_stack_area, GAME_THREAD_STACK_SIZE);
static struct k_thread game_thread_data;

static void game_thread(void *arg1, void *arg2, void *arg3);

int game_modul_init() {
    k_thread_create(&game_thread_data, game_stack_area,
                    K_THREAD_STACK_SIZEOF(game_stack_area),
                    game_thread,
                    NULL, NULL, NULL,
                    GAME_THREAD_PRIORITY, 0, K_NO_WAIT);
    return 0;
}

static void game_thread(void *arg1, void *arg2, void *arg3) {
    LOG_INF("Game thread started");
    struct toy_events rx_event;
    struct toy_events tx_audio;
    uint8_t chain[CHAIN_TRESHOLD];
    memset(chain, 255, sizeof(chain));
    int chain_ocupied = 0;
    bool gest_detected[GEST_COUNT];
    memset(gest_detected, false, GEST_COUNT);

    while (true) {
        if(k_msgq_get(&game_ev_msgq, &rx_event, K_FOREVER) == 0){
            if (rx_event.type != MT_GEST) continue;
            switch (current_game) {
                case GAME_MODE_CHAINS:
                    if (gest_detected[rx_event.payload.gest.type]) {
                        LOG_INF("Deteced same gest as before try another one");
                    } else {
                        chain[chain_ocupied] = (char)rx_event.payload.gest.type;
                        gest_detected[rx_event.payload.gest.type] = true;
                        tx_audio.type = MT_GEST;
                        tx_audio.len = sizeof(struct audio_ev);
                        tx_audio.payload.audio.id = rx_event.payload.gest.type;
                        k_msgq_put(&aud_event_msgq, &tx_audio, K_NO_WAIT);
                        chain_ocupied++;
                    }
                    if (chain_ocupied == CHAIN_TRESHOLD) {
                        tx_audio.type = MT_CHAIN;
                        memcpy(&tx_audio.payload.audio.chain, &chain, sizeof(chain));
                        k_msgq_put(&aud_event_msgq, &tx_audio, K_NO_WAIT);
                        chain_ocupied = 0;
                        memset(chain, 255, sizeof(chain));
                        memset(gest_detected, false, GEST_COUNT);
                    }
                    break;
                
                default:
                    break;
            }
        }
    }
    
}
```

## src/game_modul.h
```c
#ifndef GAME_MODUL_H_
#define GAME_MODUL_H_

extern struct k_msgq game_ev_msgq;

int game_modul_init();

#endif
```

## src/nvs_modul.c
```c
#include "nvs_modul.h"

#include <zephyr/drivers/flash.h>
#include <zephyr/storage/flash_map.h>
#include <zephyr/fs/nvs.h>
#include <zephyr/sys/errno_private.h>

#include <zephyr/logging/log.h>

LOG_MODULE_REGISTER(nvs_modul, CONFIG_LOG_DEFAULT_LEVEL);

#define NVS_SCHEMA_VERSION   1
#define NVS_ID_SCHEMA_VERSION 0xFFFE
#define NVS_ID_POWSTATE 	  0x0001
#define NVS_ID_VOLUME   	  0x0002
#define NVS_ID_CUR_CATEG  	  0x0003
#define NVS_ID_CUR_GAME  	  0x0004
//#define NVS_ID_RBTCNT		  0x0005

#define NVS_PARTITION		storage_partition
#define NVS_PARTITION_DEVICE	FIXED_PARTITION_DEVICE(NVS_PARTITION)
#define NVS_PARTITION_OFFSET	FIXED_PARTITION_OFFSET(NVS_PARTITION)

static struct nvs_fs fs;

int nvs_init_datarec(uint8_t *volume, uint8_t *current_category, bool *deviceRunning, toy_game_mode_t *current_gameM) {
	int rc = 0;
	struct flash_pages_info info;
	uint32_t ver;

	fs.flash_device = NVS_PARTITION_DEVICE;
	if (!device_is_ready(fs.flash_device)) {
		LOG_WRN("Flash device %s is not ready", fs.flash_device->name);
		return -ENODEV;
	}
	fs.offset = NVS_PARTITION_OFFSET;
	rc = flash_get_page_info_by_offs(fs.flash_device, fs.offset, &info);
	if (rc) {
		LOG_WRN("Unable to get page info, rc=%d", rc);
		return rc;
	}
	fs.sector_size = info.size;
	fs.sector_count = 2U;

	rc = nvs_mount(&fs);
	if (rc) {
		LOG_WRN("Flash Init failed, rc=%d", rc);
		return rc;
	}

	rc = nvs_read(&fs, NVS_ID_SCHEMA_VERSION, &ver, sizeof(ver));

	if (rc <= 0 || ver != NVS_SCHEMA_VERSION) {
		LOG_INF("NVS schema mismatch, clearing NVS");
		nvs_clear(&fs);

		rc = nvs_mount(&fs);  // <--- znovu mount po vymazání
		if (rc) {
			LOG_ERR("NVS mount failed after clear, rc=%d", rc);
			return rc;
		}

		LOG_INF("is NVS ready: %d", fs.ready);

		ver = NVS_SCHEMA_VERSION;
		rc = nvs_write(&fs, NVS_ID_SCHEMA_VERSION, &ver, sizeof(ver));
	    if (rc < 0) {
			LOG_ERR("Failed to write schema version, rc=%d", rc);
			return rc;
    	}
	}else {
		LOG_INF("NVS schema match: %u == %u, using same NVS", ver , NVS_SCHEMA_VERSION);
	}

	uint8_t  def_power   = 1;
	uint32_t def_sound   = 0;
	uint8_t  def_volume  = 5;
	uint8_t  def_gameM   = 0;

	nvs_restore(NVS_ID_POWSTATE, deviceRunning, sizeof(*deviceRunning), &def_power);
	LOG_INF("Device power state is %d", *deviceRunning);
	nvs_restore(NVS_ID_CUR_CATEG, current_category, sizeof(*current_category), &def_sound);
	LOG_INF("Soundset index is %d", *current_category);
	nvs_restore(NVS_ID_VOLUME, volume, sizeof(*volume), &def_volume);
	LOG_INF("Volume is %d", *volume);
	nvs_restore(NVS_ID_CUR_GAME, current_gameM, sizeof(*current_gameM), &def_gameM);
	LOG_INF("Game Mode is %d", *current_gameM);
	return 0;
}

int nvs_restore(uint16_t nvs_id, void *data, size_t len ,const void * def){
	int rc = nvs_read(&fs, nvs_id, data, len);
	if (rc <= 0) {
		memcpy(data, def, len);

		rc = nvs_write(&fs, nvs_id, data, len);
		if (rc < 0) {
			LOG_ERR("NVS write failed id=%d rc=%d", nvs_id, rc);
			return rc;
		} else if (rc == 0) {
			LOG_INF("Tried to write same data to NVS wriet was terminated");
		}

		LOG_INF("NVS id %d defaulted", nvs_id);
	} else {
		LOG_INF("NVS id %d restored", nvs_id);
	}
	return 0;
}

int nvs_save_volume(uint8_t volume) {
	int rc = nvs_write(&fs, NVS_ID_VOLUME, &volume, sizeof(volume));
	if (rc < 0) {
		LOG_ERR("Failed to write schema version, rc=%d", rc);
		return rc;
	}
	return 0;
}

int nvs_save_power_state(bool deviceRunning) {
	int rc = nvs_write(&fs, NVS_ID_POWSTATE, &deviceRunning, sizeof(deviceRunning));
	if (rc < 0) {
		LOG_ERR("Failed to write schema version, rc=%d", rc);
		return rc;
	}
	return 0;
}

int nvs_save_categ(uint8_t currentCategory) {
	int rc = nvs_write(&fs, NVS_ID_CUR_CATEG, &currentCategory, sizeof(currentCategory));
	if (rc < 0) {
		LOG_ERR("Failed to write schema version, rc=%d", rc);
		return rc;
	}
	return 0;
}

int nvs_save_gameM(toy_game_mode_t currentGameMode) {
	int rc = nvs_write(&fs, NVS_ID_CUR_GAME, &currentGameMode, sizeof(currentGameMode));
	if (rc < 0) {
		LOG_ERR("Failed to write schema version, rc=%d", rc);
		return rc;
	}
	return 0;
}
```

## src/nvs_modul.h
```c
#ifndef NVS_MODUL_H_
#define NVS_MODUL_H_
#include <stdint.h>
#include <stdbool.h>
#include <stddef.h>
#include "app_state.h"

int nvs_init_datarec(uint8_t *volume, uint8_t *current_category, bool *deviceRunning, toy_game_mode_t *current_gameM);

int nvs_restore(uint16_t nvs_id, void *data, size_t len ,const void * def);

int nvs_save_volume(uint8_t volume);

int nvs_save_power_state(bool deviceRunning);

int nvs_save_categ(uint8_t currentCategory);

int nvs_save_gameM(toy_game_mode_t currentGameMode);
#endif
```
